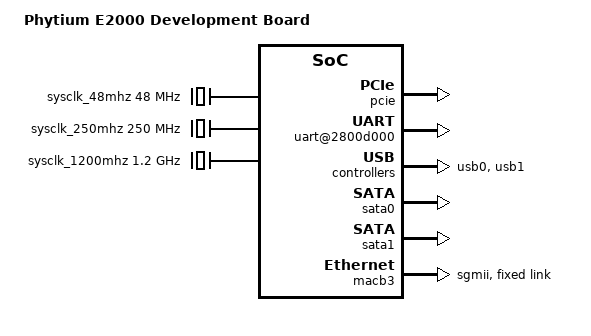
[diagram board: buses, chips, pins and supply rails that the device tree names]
// SPDX-License-Identifier: GPL-2.0+
/*
 * dts file for Phytium E2000 SoC
 *
 * Copyright (C) 2022, Phytium Technology Co., Ltd.
 */
/dts-v1/;

/ {
	model = "Phytium E2000 Development Board";
    compatible = "phytium,e2000";
    #address-cells = <2>;
    #size-cells = <2>;

	aliases {
		spi0 = &spi0;
		spi1 = &spi1;
		spi2 = &spi2;
		spi3 = &spi3;
	};

	pcie: pcie@40000000 {
		compatible = "phytium,pcie-host-1.0";
		device_type = "pci";
		#address-cells = <3>;
		#size-cells = <2>;
		reg = <0x0 0x40000000 0x0 0x10000000>;
		bus-range = <0x0 0xff>;
		ranges = <0x01000000 0x00 0x00000000 0x0  0x50000000 0x0  0x00F00000>,
				 <0x02000000 0x00 0x58000000 0x0  0x58000000 0x0  0x28000000>,
				 <0x03000000 0x10 0x00000000 0x10 0x00000000 0x10 0x00000000>;
	};

    psci {
        compatible = "arm,psci-1.0", "arm,psci-0.2", "arm,psci";
        method = "smc";
    };

	clocks {
		#address-cells = <2>;
		#size-cells = <2>;
		ranges;

		sysclk_48mhz: clk48mhz {
			compatible = "fixed-clock";
			#clock-cells = <0>;
			clock-frequency = <48000000>;
		};
		sysclk_250mhz: clk250mhz {
			compatible = "fixed-clock";
			#clock-cells = <0>;
			clock-frequency = <250000000>;
		};
		sysclk_1200mhz: clk1200mhz {
			compatible = "fixed-clock";
			#clock-cells = <0>;
			clock-frequency = <1200000000>;
		};
	};

	soc {
		compatible = "simple-bus";
		#address-cells = <2>;
		#size-cells = <2>;
		ranges;
		
		mmc0: mmc@28000000 {
			compatible = "phytium,mci";
			reg = <0x0 0x28000000 0x0 0x1000>;
			clock = <0x50000000>;
			status = "disabled";
		};

		mmc1: mmc@28001000 {
			compatible = "phytium,mci";
			reg = <0x0 0x28001000 0x0 0x1000>;
			clock = <0x50000000>;
			status = "disabled";
		};

		nand0: nand@28002000 {
			compatible = "phytium,nfc";
			reg = <0x0 0x28002000 0x0 0x1000>;
			status = "disabled";
		};

		dma2: dma@28003000 {
			compatible = "phytium,ddma";
			reg = <0x0 0x28003000 0x0 0x1000>;
			dma-channels = <4>;
			status = "disabled";
		};

		dma3: dma@28004000 {
			compatible = "phytium,ddma-bdl";
			reg = <0x0 0x28004000 0x0 0x1000>;
			dma-channels = <4>;
			status = "disabled";
		};

		qspi@28008000 {
			compatible = "phytium,qspi";
			reg = <0x0 0x28008000 0x0     0x1000>,
			      <0x0        0x0 0x0 0x02000000>;
			reg-names = "qspi", "qspi_mm";
			status = "disabled";

			#address-cells = <1>;
			#size-cells = <0>;
			qspi_flash@0 {
				reg = <0>;
				spi-rx-bus-width = <1>;
				spi-max-frequency = <600000000>;
			};
		};

		i2s0: i2s@28009000 {
			compatible = "phytium,i2s";
			reg = <0x0 0x28009000 0x0 0x1000>;
			status = "disabled";
		};

		uart@2800d000 {
			compatible = "arm,pl011", "arm,primecell";
			reg = <0x0 0x2800d000 0x0 0x1000>;
			//clock = <48000000>;
			clock = <100000000>;
		};

		i2c0: i2c@28011000 {
			compatible = "snps,designware-i2c";
			reg = <0x0 0x28011000 0x0 0x1000>;
			clock = <48000000>;
			status = "disabled";
		};

		i2c1: i2c@28012000 {
			compatible = "snps,designware-i2c";
			reg = <0x0 0x28012000 0x0 0x1000>;
			clock = <48000000>;
			status = "disabled";

			#address-cells = <1>;
			#size-cells = <0>;
			rtc@68 {
				compatible = "dallas,ds1339";
				reg = <0x68>;
				status = "disabled";
			};
		};

		i2c2: i2c@28013000 {
			compatible = "snps,designware-i2c";
			reg = <0x0 0x28013000 0x0 0x1000>;
			clock = <48000000>;
			status = "disabled";
		};
		
		pinctrl: pinctrl@32b30000 {
			compatible = "phytium,e2000-pinctrl";
			reg = <0x0 0x32b30020 0x0 0x2000>;	//gpio:9~147
			bank00 = <0x0 0x0>;
			bank01 = <0x0 0x0>;
			bank02 = <0x0 0x0>;
			bank03 = <0x0 0x0>;
			bank04 = <0x0 0x0>;
			bank05 = <0x0 0x0>;	//res:0
			bank06 = <0x1 0x0>;	//drive:4
			bank07 = <0x1 0x0>;	//func_sel:4
			bank08 = <0x0 0xf>;
			bank10 = <0x0 0x0>;
			bank11 = <0x0 0x0>;
			bank12 = <0x0 0x0>;
			bank13 = <0x0 0x0>;
			bank14 = <0x0 0x0>;
			bank15 = <0x0 0x0>;	//res:0
			bank16 = <0x1 0x0>;	//drive:4
			bank17 = <0x1 0x1>;	//func_sel:5
			bank18 = <0x0 0xff>;
		};

		gpio0: gpio@28034000 {
			compatible = "phytium,gpio";
			reg = <0x0 0x28034000 0x0 0x1000>;
			gpio-controller;
			#gpio-cells = <2>;
			#address-cells = <1>;
			#size-cells = <0>;
			status = "disabled";
			chip_label = "E2000";
			nr-gpios = <16>;
		};

		gpio1: gpio@28035000 {
			compatible = "phytium,gpio";
			reg = <0x0 0x28035000 0x0 0x1000>;
			gpio-controller;
			#gpio-cells = <2>;
			#address-cells = <1>;
			#size-cells = <0>;
			status = "disabled";
			chip_label = "E2000";
			nr-gpios = <16>;
		};

		gpio2: gpio@28036000 {
			compatible = "phytium,gpio";
			reg = <0x0 0x28036000 0x0 0x1000>;
			gpio-controller;
			#gpio-cells = <2>;
			#address-cells = <1>;
			#size-cells = <0>;
			status = "disabled";
			chip_label = "E2000";
			nr-gpios = <16>;
		};

		gpio3: gpio@28037000 {
			compatible = "phytium,gpio";
			reg = <0x0 0x28037000 0x0 0x1000>;
			gpio-controller;
			#gpio-cells = <2>;
			#address-cells = <1>;
			#size-cells = <0>;
			status = "disabled";
			chip_label = "E2000";
			nr-gpios = <16>;
		};

		gpio4: gpio@28038000 {
			compatible = "phytium,gpio";
			reg = <0x0 0x28038000 0x0 0x1000>;
			gpio-controller;
			#gpio-cells = <2>;
			#address-cells = <1>;
			#size-cells = <0>;
			status = "disabled";
			chip_label = "E2000";
			nr-gpios = <16>;
		};

		gpio5: gpio@28039000 {
			compatible = "phytium,gpio";
			reg = <0x0 0x28038000 0x0 0x1000>;
			gpio-controller;
			#gpio-cells = <2>;
			#address-cells = <1>;
			#size-cells = <0>;
			status = "disabled";
			chip_label = "E2000";
			nr-gpios = <16>;
		};

		spi0: spi@2803a000 {
			compatible = "snps,dw-apb-ssi";
			reg = <0x0 0x2803a000 0x0 0x1000>;
			spi-max-frequency = <4000000>;
			clock = <48000000>;
			//cs-gpio = <&portc 5 1>;
			status = "disabled";

			#address-cells = <1>;
			#size-cells = <0>;
			spi_flash@0 {
				compatible = "jedec,spi-nor";
				reg = <0>;
				spi-max-frequency = <4000000>;
			};
		};

		spi1: spi@2803b000 {
			compatible = "snps,dw-apb-ssi";
			reg = <0x0 0x2803b000 0x0 0x1000>;
			spi-max-frequency = <4000000>;
			clock = <48000000>;
			status = "disabled";
		};

		spi2: spi@2803c000 {
			compatible = "snps,dw-apb-ssi";
			reg = <0x0 0x2803c000 0x0 0x1000>;
			spi-max-frequency = <4000000>;
			clock = <48000000>;
			status = "disabled";
		};

		spi3: spi@2803d000 {
			compatible = "snps,dw-apb-ssi";
			reg = <0x0 0x2803d000 0x0 0x1000>;
			spi-max-frequency = <4000000>;
			clock = <48000000>;
			status = "disabled";
		};

		watchdog0: watchdog@28040000 {
			compatible = "arm,sbsa-gwdt";
			reg = <0x0 0x28040000 0x0 0x1000>;
			timeout-sec = <30>;
			clock = <48000000>;
			status = "disabled";
		};

		watchdog1: watchdog@28042000 {
			compatible = "arm,sbsa-gwdt";
			reg = <0x0 0x28042000 0x0 0x1000>;
			timeout-sec = <30>;
			clock = <48000000>;
			status = "disabled";
		};

		pwm0: pwm@2804a000 {
			compatible = "phytium,pwm";
			reg = <0x0 0x2804a000 0x0 0x1000>;
			status = "disabled";
		};

		pwm1: pwm@2804b000 {
			compatible = "phytium,pwm";
			reg = <0x0 0x2804b000 0x0 0x1000>;
			status = "disabled";
		};

		pwm2: pwm@2804c000 {
			compatible = "phytium,pwm";
			reg = <0x0 0x2804c000 0x0 0x1000>;
			status = "disabled";
		};

		pwm3: pwm@2804d000 {
			compatible = "phytium,pwm";
			reg = <0x0 0x2804d000 0x0 0x1000>;
			status = "disabled";
		};

		pwm4: pwm@2804e000 {
			compatible = "phytium,pwm";
			reg = <0x0 0x2804e000 0x0 0x1000>;
			status = "disabled";
		};

		pwm5: pwm@2804f000 {
			compatible = "phytium,pwm";
			reg = <0x0 0x2804f000 0x0 0x1000>;
			status = "disabled";
		};

		pwm6: pwm@28050000 {
			compatible = "phytium,pwm";
			reg = <0x0 0x28050000 0x0 0x1000>;
			status = "disabled";
		};

		pwm7: pwm@28051000 {
			compatible = "phytium,pwm";
			reg = <0x0 0x28051000 0x0 0x1000>;
			status = "disabled";
		};

		adc0: adc@2807b000 {
			compatible = "phytium,adc";
			reg = <0x0 0x2807b000 0x0 0x1000>;
			clocks = <&sysclk_48mhz>;
			status = "disabled";
		};

		adc1: adc@2807c000 {
			compatible = "phytium,adc";
			reg = <0x0 0x2807c000 0x0 0x1000>;
			clocks = <&sysclk_48mhz>;
			status = "disabled";
		};

		usb2otg0: usb@31800000 {
			compatible = "snps,dwc3";
			reg = <0x0 0x31800000 0x0 0x80000>;
			status = "disabled";
		};

		usb2otg1: usb@31880000 {
			compatible = "snps,dwc3";
			reg = <0x0 0x31880000 0x0 0x80000>;
			status = "disabled";
		};

		usb2otg2: usb@31900000 {
			compatible = "snps,dwc3";
			reg = <0x0 0x31900000 0x0 0x80000>;
			status = "disabled";
		};

		usb0: usb3@31a00000 {
			compatible = "snps,dwc3";
			reg = <0x0 0x31a08000 0x0 0x18000>;
			status = "okay";
		};

		usb1: usb3@31a20000 {
			compatible = "snps,dwc3";
			reg = <0x0 0x31a28000 0x0 0x18000>;
			status = "okay";
		};

		usb2: usb2@32800000 {
			compatible = "snps,dwc3";
			reg = <0x0 0x32800000 0x0 0x40000>;
			status = "disabled";
		};

		usb3: usb2@32840000 {
			compatible = "snps,dwc3";
			reg = <0x0 0x32840000 0x0 0x40000>;
			status = "disabled";
		};

		sata0: sata@31a40000 {
			compatible = "phytium_ahci";
			reg = <0x0 0x31a40000 0x0 0x1000>;
			status = "okay";
		};

		sata1: sata@32014000 {
			compatible = "phytium_ahci";
			reg = <0x0 0x32014000 0x0 0x1000>;
			status = "okay";
		};

		dc0: dc@32000000 {
			compatible = "phytium,dc";
			reg = <0x0 0x32000000 0x0 0x6000>;
			status = "disabled";
		};

		macb0: ethernet@3200c000 {
			compatible = "cdns,phytium-gem";
			reg = <0x0 0x3200c000 0x0 0x2000>;
            clock-names = "pclk", "hclk", "tx_clk", "tsu_clk";
            clocks = <&sysclk_48mhz>, <&sysclk_48mhz>, <&sysclk_48mhz>, <&sysclk_250mhz>;
			magic-packet;
			support-tsn;
			status = "disabled";
                	fixed-link{
                        	speed = <10000>;
                        	full-duplex;
                	};
		};

		macb1: ethernet@3200e000 {
			compatible = "cdns,phytium-gem";
			reg = <0x0 0x3200e000 0x0 0x2000>;
			clock-names = "pclk", "hclk", "tx_clk", "tsu_clk";
			clocks = <&sysclk_48mhz>, <&sysclk_48mhz>, <&sysclk_48mhz>, <&sysclk_48mhz>;
			magic-packet;
			status = "disabled";
                	fixed-link{
                        	speed = <10000>;
                       		full-duplex;
			};
		};

		macb2: ethernet@32010000 {
			compatible = "cdns,phytium-gem";
			reg = <0x0 0x32010000 0x0 0x2000>;
			clock-names = "pclk", "hclk", "tx_clk", "tsu_clk";
			clocks = <&sysclk_48mhz>, <&sysclk_48mhz>, <&sysclk_48mhz>, <&sysclk_48mhz>;
			magic-packet;
			status = "disabled";
			fixed-link{
				speed = <1000>;
				full-duplex;
			};
		};

		macb3: ethernet@32012000 {
			compatible = "cdns,phytium-gem";
			reg = <0x0 0x32012000 0x0 0x2000>;
			clock = <48000000>;
			status = "okay";
			phy-mode = "sgmii";
			fixed-link{
				speed = <1000>;
				full-duplex;
			};
		};

		/* GDMA */
		dma0: dma@32b34000 {
			compatible = "phytium,gdma";
			reg = <0x0 0x32b34000 0x0 0x1000>;
			clocks = <&sysclk_48mhz>;
			dma-channels = <8>;
			status = "disabled";
		};

		dma1: dma@32b35000 {
			compatible = "phytium,gdma";
			reg = <0x0 0x32b35000 0x0 0x1000>;
			clocks = <&sysclk_48mhz>;
			dma-channels = <8>;
			status = "disabled";
		};
	};
	
};
